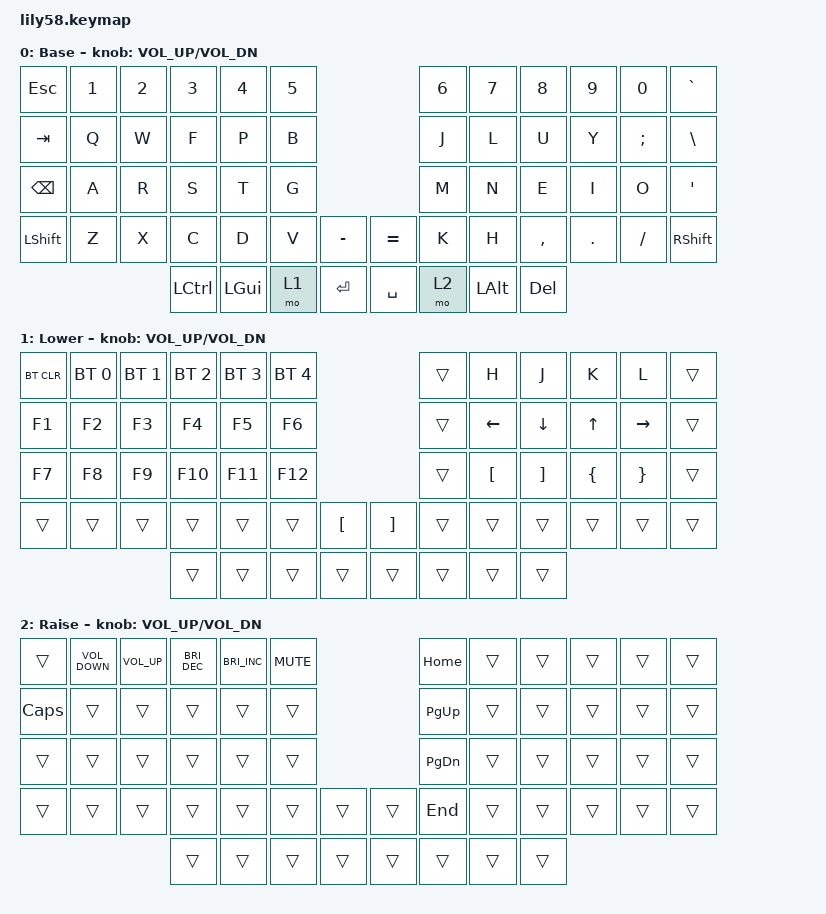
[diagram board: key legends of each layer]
/*
 * Copyright (c) 2020 The ZMK Contributors
 *
 * SPDX-License-Identifier: MIT
 */

#include <behaviors.dtsi>
#include <dt-bindings/zmk/bt.h>
#include <dt-bindings/zmk/keys.h>

/ {
    keymap {
        compatible = "zmk,keymap";

        default_layer {
            // ------------------------------------------------------------------------------------------------------------
            // |  ESC  |  1  |  2  |  3   |  4   |  5   |                   |  6   |  7    |  8    |  9   |   0   |   `   |
            // |  TAB  |  Q  |  W  |  E   |  R   |  T   |                   |  Y   |  U    |  I    |  O   |   P   |   -   |
            // |  CTRL |  A  |  S  |  D   |  F   |  G   |                   |  H   |  J    |  K    |  L   |   ;   |   '   |
            // | SHIFT |  Z  |  X  |  C   |  V   |  B   |   "["  |  |  "]"  |  N   |  M    |  ,    |  .   |   /   | SHIFT |
            //                     | ALT  | GUI  | LOWER|  SPACE |  | ENTER | RAISE| BSPC  | GUI   |

            display-name = "Base";
            bindings = <
&kp ESC        &kp N1  &kp N2  &kp N3     &kp N4    &kp N5                          &kp N6  &kp N7        &kp N8      &kp N9   &kp N0         &kp GRAVE
&kp TAB        &kp Q   &kp W   &kp F      &kp P     &kp B                           &kp J   &kp L         &kp U       &kp Y    &kp SEMICOLON  &kp BACKSLASH
&kp BACKSPACE  &kp A   &kp R   &kp S      &kp T     &kp G                           &kp M   &kp N         &kp E       &kp I    &kp O          &kp SQT
&kp LSHFT      &kp Z   &kp X   &kp C      &kp D     &kp V   &kp MINUS    &kp EQUAL  &kp K   &kp H         &kp COMMA   &kp DOT  &kp FSLH       &kp RSHFT
                               &kp LCTRL  &kp LGUI  &mo 1   &kp ENTER    &kp SPACE  &mo 2   &kp LEFT_ALT  &kp DELETE
            >;

            sensor-bindings = <&inc_dec_kp C_VOL_UP C_VOL_DN>;
        };

        lower_layer {
            // ------------------------------------------------------------------------------------------------------------
            // | BTCLR | BT1 | BT2 |  BT3 |  BT4 |  BT5 |                   |      |       |       |      |       |       |
            // |  F1   |  F2 |  F3 |  F4  |  F5  |  F6  |                   |  F7  |  F8   |  F9   |  F10 |  F11  |  F12  |
            // |   `   |  !  |  @  |  #   |  $   |  %   |                   |  ^   |  &    |  *    |  (   |   )   |   ~   |
            // |       |     |     |      |      |      |        |  |       |      |  _    |  +    |  {   |   }   |  "|"  |
            //                     |      |      |      |        |  |       |      |       |       |

            display-name = "Lower";
            bindings = <
&bt BT_CLR  &bt BT_SEL 0  &bt BT_SEL 1  &bt BT_SEL 2  &bt BT_SEL 3  &bt BT_SEL 4                                         &trans  &kp H             &kp J              &kp K           &kp L            &trans
&kp F1      &kp F2        &kp F3        &kp F4        &kp F5        &kp F6                                               &trans  &kp LEFT_ARROW    &kp DOWN_ARROW     &kp UP_ARROW    &kp RIGHT_ARROW  &trans
&kp F7      &kp F8        &kp F9        &kp F10       &kp F11       &kp F12                                              &trans  &kp LEFT_BRACKET  &kp RIGHT_BRACKET  &kp LEFT_BRACE  &kp RIGHT_BRACE  &trans
&trans      &trans        &trans        &trans        &trans        &trans        &kp LEFT_BRACKET    &kp RIGHT_BRACKET  &trans  &trans            &trans             &trans          &trans           &trans
                                        &trans        &trans        &trans        &trans              &trans             &trans  &trans            &trans
            >;

            sensor-bindings = <&inc_dec_kp C_VOL_UP C_VOL_DN>;
        };

        raise_layer {
            // ------------------------------------------------------------------------------------------------------------
            // |       |     |     |      |      |      |                   |      |       |       |      |       |       |
            // |   `   |  1  |  2  |  3   |  4   |  5   |                   |  6   |   7   |   8   |  9   |   0   |       |
            // |   F1  |  F2 |  F3 |  F4  |  F5  |  F6  |                   |      |   <-  |   v   |  ^   |  ->   |       |
            // |   F7  |  F8 |  F9 |  F10 |  F11 |  F12 |        |  |       |  +   |   -   |   =   |  [   |   ]   |   \   |
            //                     |      |      |      |        |  |       |      |       |       |

            display-name = "Raise";
            bindings = <
&trans    &kp C_VOLUME_DOWN  &kp C_VOLUME_UP  &kp C_BRIGHTNESS_DEC  &kp C_BRIGHTNESS_INC  &kp K_MUTE                    &kp HOME       &trans  &trans  &trans  &trans  &trans
&kp CAPS  &trans             &trans           &trans                &trans                &trans                        &kp PAGE_UP    &trans  &trans  &trans  &trans  &trans
&trans    &trans             &trans           &trans                &trans                &trans                        &kp PAGE_DOWN  &trans  &trans  &trans  &trans  &trans
&trans    &trans             &trans           &trans                &trans                &trans      &trans    &trans  &kp END        &trans  &trans  &trans  &trans  &trans
                                              &trans                &trans                &trans      &trans    &trans  &trans         &trans  &trans
            >;

            sensor-bindings = <&inc_dec_kp C_VOL_UP C_VOL_DN>;
        };
    };
};
